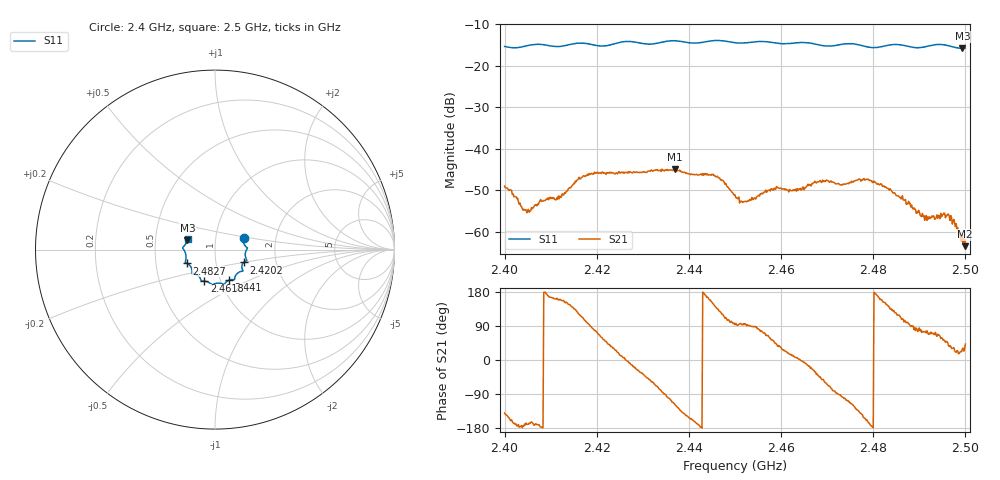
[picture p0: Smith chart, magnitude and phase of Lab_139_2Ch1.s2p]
# Hz S RI R 50
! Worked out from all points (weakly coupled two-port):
!   601 points, 2.4 GHz to 2.5 GHz, reference 50 ohm
!   highest |S21| = -44.90 dB at 2.437 GHz (marker M1); lowest = -63.4 dB at 2.4998 GHz (marker M2)
!   lowest |S11| = -15.8 dB at 2.4993 GHz (marker M3), VSWR 1.39, Z = 36.5 + j3.8 ohm
!   |S11| at or under -10 dB: start of sweep to end of sweep
!   S12 and S22 are empty: the file has one direction only
!   S11 on the Smith chart (normalised r, x): 2.4 GHz: 1.36, +0.18; 2.4202 GHz: 1.36, -0.20; 2.441 GHz: 1.10, -0.39; 2.4618 GHz: 0.84, -0.30; 2.4827 GHz: 0.72, -0.11; 2.5 GHz: 0.73, +0.09
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2.4e9  0.1588 0.0628  -0.00272 -0.0023  0 0  0 0
2.405167e9  0.1752 0.0135  -0.00183 -0.000334  0 0  0 0
2.412333e9  0.1687 -0.0318  -0.00243 0.00103  0 0  0 0
2.416667e9  0.1772 -0.0609  -0.00187 0.00411  0 0  0 0
2.420167e9  0.159 -0.0716  0.00172 0.00497  0 0  0 0
2.433333e9  0.1117 -0.1508  0.00165 -0.00521  0 0  0 0
2.437e9  0.1077 -0.1679  -0.0027 -0.005  0 0  0 0
2.441e9  0.0789 -0.1699  -0.00464 -0.00164  0 0  0 0
2.445833e9  0.05 -0.1951  -0.0035 0.003  0 0  0 0
2.45e9  0.0287 -0.1875  -0.000153 0.00279  0 0  0 0
2.452167e9  0.00685 -0.188  -0.000246 0.0023  0 0  0 0
2.459e9  -0.0322 -0.1842  0.00264 0.00233  0 0  0 0
2.461833e9  -0.0591 -0.1755  0.00313 0.000861  0 0  0 0
2.466667e9  -0.0789 -0.1683  0.00349 -0.00151  0 0  0 0
2.478333e9  -0.1281 -0.1126  -0.00387 -0.00177  0 0  0 0
2.482667e9  -0.1559 -0.0769  -0.00303 0.00172  0 0  0 0
2.483333e9  -0.1602 -0.075  -0.00263 0.00202  0 0  0 0
2.490833e9  -0.1667 -0.0139  0.000393 0.00148  0 0  0 0
2.4965e9  -0.1721 0.0201  0.00125 0.000884  0 0  0 0
2.499333e9  -0.154 0.0508  0.000818 0.000447  0 0  0 0
2.499833e9  -0.1525 0.058  0.000583 0.000337  0 0  0 0
2.5e9  -0.152 0.0603  0.000591 0.00053  0 0  0 0
